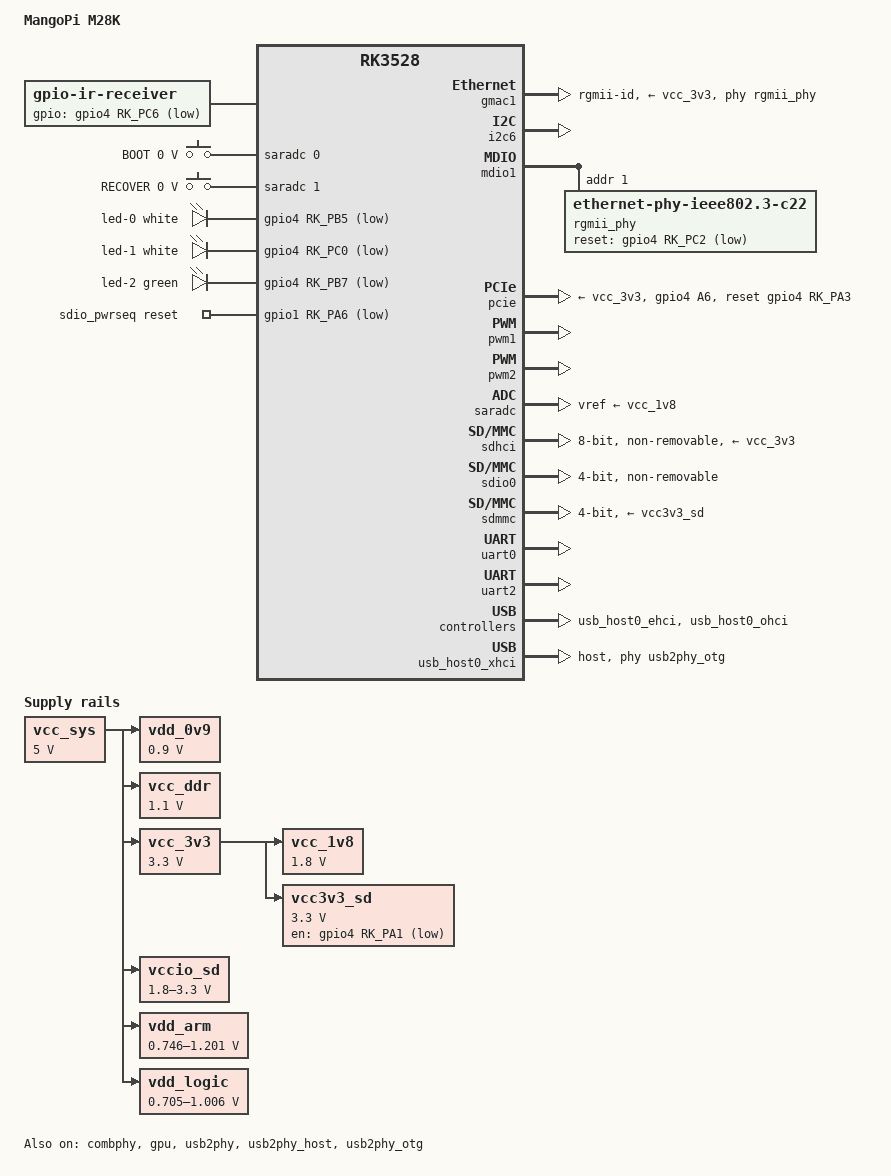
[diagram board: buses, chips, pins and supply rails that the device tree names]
// SPDX-License-Identifier: (GPL-2.0+ OR MIT)

/dts-v1/;

#include <dt-bindings/input/input.h>
#include <dt-bindings/leds/common.h>
#include <dt-bindings/pwm/pwm.h>
#include "rk3528.dtsi"

/ {
	model = "MangoPi M28K";
	compatible = "widora,mangopi-m28k", "rockchip,rk3528";

	aliases {
		ethernet0 = &gmac1;
		i2c6 = &i2c6;
		mmc0 = &sdhci;
		mmc1 = &sdmmc;
		mmc2 = &sdio0;
		serial0 = &uart0;
		serial2 = &uart2;
		serial3 = &uart3;
	};

	chosen {
		stdout-path = "serial0:1500000n8";
	};

	ir-receiver {
		compatible = "gpio-ir-receiver";
		gpios = <&gpio4 RK_PC6 GPIO_ACTIVE_LOW>;
		pinctrl-names = "default";
		pinctrl-0 = <&pwm3_m0_ir_rx>;
	};

	keys-0 {
		compatible = "adc-keys";
		io-channels = <&saradc 0>;
		io-channel-names = "buttons";
		keyup-threshold-microvolt = <1800000>;
		poll-interval = <100>;

		button-boot {
			label = "BOOT";
			linux,code = <KEY_SETUP>;
			press-threshold-microvolt = <0>;
		};
	};

	keys-1 {
		compatible = "adc-keys";
		io-channels = <&saradc 1>;
		io-channel-names = "buttons";
		keyup-threshold-microvolt = <1800000>;
		poll-interval = <100>;

		button-recover {
			label = "RECOVER";
			linux,code = <KEY_VENDOR>;
			press-threshold-microvolt = <0>;
		};
	};

	leds {
		compatible = "gpio-leds";
		pinctrl-names = "default";
		pinctrl-0 = <&lan_led>, <&wan_led>, <&work_led>;

		led-0 {
			color = <LED_COLOR_ID_WHITE>;
			function = LED_FUNCTION_LAN;
			gpios = <&gpio4 RK_PB5 GPIO_ACTIVE_LOW>;
			linux,default-trigger = "netdev";
		};

		led-1 {
			color = <LED_COLOR_ID_WHITE>;
			function = LED_FUNCTION_WAN;
			gpios = <&gpio4 RK_PC0 GPIO_ACTIVE_LOW>;
			linux,default-trigger = "netdev";
		};

		led-2 {
			color = <LED_COLOR_ID_GREEN>;
			function = LED_FUNCTION_STATUS;
			gpios = <&gpio4 RK_PB7 GPIO_ACTIVE_LOW>;
			linux,default-trigger = "default-on";
		};
	};

	vdd_0v9: regulator-0v9-vdd {
		compatible = "regulator-fixed";
		regulator-name = "vdd_0v9";
		regulator-always-on;
		regulator-boot-on;
		regulator-min-microvolt = <900000>;
		regulator-max-microvolt = <900000>;
		vin-supply = <&vcc_sys>;
	};

	vcc_ddr: regulator-1v1-vcc-ddr {
		compatible = "regulator-fixed";
		regulator-name = "vcc_ddr";
		regulator-always-on;
		regulator-boot-on;
		regulator-min-microvolt = <1100000>;
		regulator-max-microvolt = <1100000>;
		vin-supply = <&vcc_sys>;
	};

	vcc_1v8: regulator-1v8-vcc {
		compatible = "regulator-fixed";
		regulator-name = "vcc_1v8";
		regulator-always-on;
		regulator-boot-on;
		regulator-min-microvolt = <1800000>;
		regulator-max-microvolt = <1800000>;
		vin-supply = <&vcc_3v3>;
	};

	vcc_3v3: regulator-3v3-vcc {
		compatible = "regulator-fixed";
		regulator-name = "vcc_3v3";
		regulator-always-on;
		regulator-boot-on;
		regulator-min-microvolt = <3300000>;
		regulator-max-microvolt = <3300000>;
		vin-supply = <&vcc_sys>;
	};

	vcc3v3_sd: regulator-3v3-vcc-sd {
		compatible = "regulator-fixed";
		gpios = <&gpio4 RK_PA1 GPIO_ACTIVE_LOW>;
		pinctrl-names = "default";
		pinctrl-0 = <&sdmmc_pwren_l>;
		regulator-name = "vcc3v3_sd";
		regulator-min-microvolt = <3300000>;
		regulator-max-microvolt = <3300000>;
		vin-supply = <&vcc_3v3>;
	};

	vcc_sys: regulator-5v0-vcc-sys {
		compatible = "regulator-fixed";
		regulator-name = "vcc_sys";
		regulator-always-on;
		regulator-boot-on;
		regulator-min-microvolt = <5000000>;
		regulator-max-microvolt = <5000000>;
	};

	vccio_sd: regulator-vccio-sd {
		compatible = "regulator-gpio";
		gpios = <&gpio4 RK_PB6 GPIO_ACTIVE_HIGH>;
		pinctrl-names = "default";
		pinctrl-0 = <&sdmmc_vol_ctrl_h>;
		regulator-name = "vccio_sd";
		regulator-min-microvolt = <1800000>;
		regulator-max-microvolt = <3300000>;
		states = <1800000 0x0>, <3300000 0x1>;
		vin-supply = <&vcc_sys>;
	};

	vdd_arm: regulator-vdd-arm {
		compatible = "pwm-regulator";
		pwms = <&pwm1 0 5000 PWM_POLARITY_INVERTED>;
		pwm-supply = <&vcc_sys>;
		regulator-name = "vdd_arm";
		regulator-always-on;
		regulator-boot-on;
		regulator-min-microvolt = <746000>;
		regulator-max-microvolt = <1201000>;
		regulator-settling-time-up-us = <250>;
	};

	vdd_logic: regulator-vdd-logic {
		compatible = "pwm-regulator";
		pwms = <&pwm2 0 5000 PWM_POLARITY_INVERTED>;
		pwm-supply = <&vcc_sys>;
		regulator-name = "vdd_logic";
		regulator-always-on;
		regulator-boot-on;
		regulator-min-microvolt = <705000>;
		regulator-max-microvolt = <1006000>;
		regulator-settling-time-up-us = <250>;
	};

	sdio_pwrseq: sdio-pwrseq {
		compatible = "mmc-pwrseq-simple";
		pinctrl-names = "default";
		pinctrl-0 = <&wifi_reg_on_h>;
		post-power-on-delay-ms = <100>;
		power-off-delay-us = <5000000>;
		reset-gpios = <&gpio1 RK_PA6 GPIO_ACTIVE_LOW>;
	};
};

&combphy {
	status = "okay";
};

&cpu0 {
	cpu-supply = <&vdd_arm>;
};

&cpu1 {
	cpu-supply = <&vdd_arm>;
};

&cpu2 {
	cpu-supply = <&vdd_arm>;
};

&cpu3 {
	cpu-supply = <&vdd_arm>;
};

&gmac1 {
	clock_in_out = "output";
	phy-handle = <&rgmii_phy>;
	phy-mode = "rgmii-id";
	phy-supply = <&vcc_3v3>;
	pinctrl-names = "default";
	pinctrl-0 = <&rgmii_miim>,
		    <&rgmii_tx_bus2>,
		    <&rgmii_rx_bus2>,
		    <&rgmii_rgmii_clk>,
		    <&rgmii_rgmii_bus>;
	status = "okay";
};

&gpu {
	mali-supply = <&vdd_logic>;
	status = "okay";
};

&i2c6 {
	pinctrl-names = "default";
	pinctrl-0 = <&i2c6m0_xfer>;
	status = "okay";
};

&mdio1 {
	rgmii_phy: ethernet-phy@1 {
		compatible = "ethernet-phy-ieee802.3-c22";
		reg = <0x1>;
		pinctrl-names = "default";
		pinctrl-0 = <&gmac1_rstn_l>;
		reset-assert-us = <20000>;
		reset-deassert-us = <100000>;
		reset-gpios = <&gpio4 RK_PC2 GPIO_ACTIVE_LOW>;
	};
};

&pcie {
	pinctrl-names = "default";
	pinctrl-0 = <&rtl8111hs_isolateb_l>;
	reset-gpios = <&gpio4 RK_PA3 GPIO_ACTIVE_HIGH>;
	vpcie3v3-supply = <&vcc_3v3>;
	status = "okay";
};

&pinctrl {
	gmac {
		gmac1_rstn_l: gmac1-rstn-l {
			rockchip,pins = <4 RK_PC2 RK_FUNC_GPIO &pcfg_pull_none>;
		};
	};

	ir {
		pwm3_m0_ir_rx: pwm3-m0-ir-rx {
			rockchip,pins = <4 RK_PC6 RK_FUNC_GPIO &pcfg_pull_up>;
		};
	};

	leds {
		lan_led: lan-led {
			rockchip,pins = <4 RK_PB5 RK_FUNC_GPIO &pcfg_pull_none>;
		};

		wan_led: wan-led {
			rockchip,pins = <4 RK_PC0 RK_FUNC_GPIO &pcfg_pull_none>;
		};

		work_led: work-led {
			rockchip,pins = <4 RK_PB7 RK_FUNC_GPIO &pcfg_pull_none>;
		};
	};

	pcie {
		rtl8111hs_isolateb_l: rtl8111hs-isolateb-l {
			rockchip,pins = <4 RK_PA6 RK_FUNC_GPIO &pcfg_pull_up>;
		};
	};

	sdmmc {
		sdmmc_pwren_l: sdmmc-pwren-l {
			rockchip,pins = <4 RK_PA1 RK_FUNC_GPIO &pcfg_pull_none>;
		};

		sdmmc_vol_ctrl_h: sdmmc-vol-ctrl-h {
			rockchip,pins = <4 RK_PB6 RK_FUNC_GPIO &pcfg_pull_none>;
		};
	};

	wifi {
		wifi_reg_on_h: wifi-reg-on-h {
			rockchip,pins = <1 RK_PA6 RK_FUNC_GPIO &pcfg_pull_none>;
		};

		wifi_wake_host_h: wifi-wake-host-h {
			rockchip,pins = <1 RK_PA7 RK_FUNC_GPIO &pcfg_pull_down>;
		};
	};
};

&pwm1 {
	pinctrl-names = "default";
	pinctrl-0 = <&pwm1m0_pins>;
	status = "okay";
};

&pwm2 {
	pinctrl-names = "default";
	pinctrl-0 = <&pwm2m0_pins>;
	status = "okay";
};

&saradc {
	vref-supply = <&vcc_1v8>;
	status = "okay";
};

&sdhci {
	bus-width = <8>;
	cap-mmc-highspeed;
	mmc-hs200-1_8v;
	non-removable;
	vmmc-supply = <&vcc_3v3>;
	vqmmc-supply = <&vcc_1v8>;
	status = "okay";
};

&sdio0 {
	bus-width = <4>;
	cap-sd-highspeed;
	cap-sdio-irq;
	keep-power-in-suspend;
	mmc-pwrseq = <&sdio_pwrseq>;
	non-removable;
	sd-uhs-sdr104;
	status = "okay";
};

&sdmmc {
	bus-width = <4>;
	cap-sd-highspeed;
	disable-wp;
	sd-uhs-sdr104;
	vmmc-supply = <&vcc3v3_sd>;
	vqmmc-supply = <&vccio_sd>;
	status = "okay";
};

&uart0 {
	pinctrl-names = "default";
	pinctrl-0 = <&uart0m0_xfer>;
	status = "okay";
};

&uart2 {
	pinctrl-names = "default";
	pinctrl-0 = <&uart2m1_ctsn>, <&uart2m1_rtsn>, <&uart2m1_xfer>;
	uart-has-rtscts;
	status = "okay";
};

&uart3 {
	pinctrl-names = "default";
	pinctrl-0 = <&uart3m0_xfer>;
	status = "disabled";
};

&usb2phy {
	status = "okay";
};

&usb2phy_host {
	phy-supply = <&vcc_sys>;
	status = "okay";
};

&usb2phy_otg {
	phy-supply = <&vcc_sys>;
	status = "okay";
};

&usb_host0_ehci {
	status = "okay";
};

&usb_host0_ohci {
	status = "okay";
};

&usb_host0_xhci {
	dr_mode = "host";
	extcon = <&usb2phy>;
	maximum-speed = "high-speed";
	phys = <&usb2phy_otg>;
	phy-names = "usb2-phy";
	status = "okay";
};
